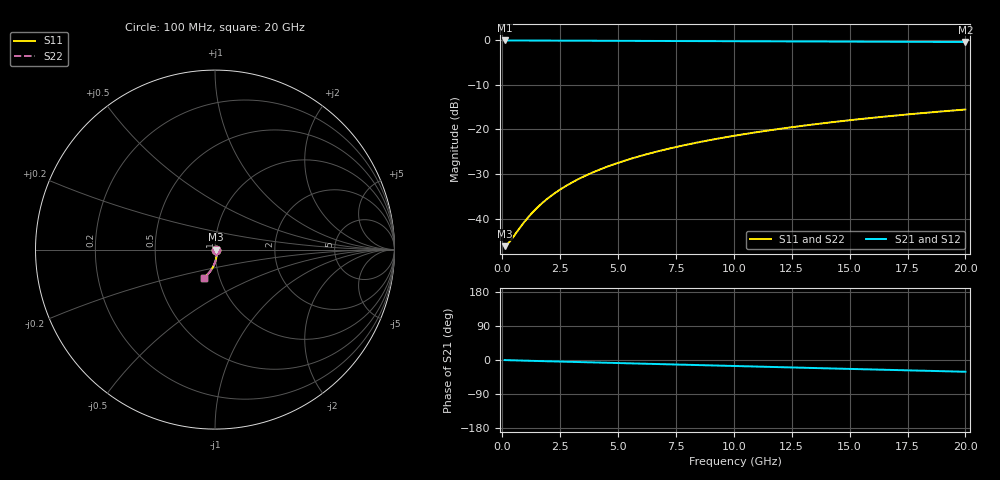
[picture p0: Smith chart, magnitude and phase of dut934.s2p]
! Touchstone file exported from HFSS 2026.1.0
!  File:  C:/ffzhzh/LocalFiles/Ansys_Project_Files/temp_train_TMRDL_934_1783158404_43440.aedt
!  Generated:  05:47:52 PM Jul  4, 2026
!  Design:  TMRDL
!  Project:  temp_train_TMRDL_934_1783158404_43440
! Variables:
!  h_bsmrdl = 2um
!  h_ox = 20um
!  h_rdl = 5um
!  h_sub = 80um
!  h_tmrdl = 2.23um
!  h_tsv = 80um
!  h_via = 3um
!  l_bsmrdl = 300um
!  l_sub = 902.64um
!  l_tmrdl = 502.64um
!  m_sub = 200um
!  pitch = 18.34um
!  r_tsv = 6um
!  s_tmrdl = 10um
!  w_bsmrdl = 18um
!  w_sub = 500um
!  w_tmrdl = 17.26um
!  x_tsv_center1 = 511.27um
!  x_tsv_center2 = 829.27um
!  x_tsv_center3 = 1349.17um
!  x_tsv_center4 = 1667.17um
!  x_tsv_center5 = 2187.07um
!  x_tsv_center6 = 2505.07um
# GHz S MA R 50.000000
! Terminal data exported
! Port[1] = TM_RDL1_1_T1
! Port[2] = TM_RDL1_1_T2
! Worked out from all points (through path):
!   200 points, 100 MHz to 20 GHz, reference 50 ohm
!   highest |S21| = -0.04 dB at 100 MHz (marker M1); lowest = -0.4 dB at 20 GHz (marker M2)
!   group delay of S21, straight-line fit = 4.29 ps
!   lowest |S11| = -46.2 dB at 100 MHz (marker M3), VSWR 1.01, Z = 50.5 - j0.0146 ohm
!   |S11| at or under -10 dB: start of sweep to end of sweep
!   |S22| runs from -46.2 to -15.5 dB; largest |S21 - S12| = 7.1e-15
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0.1  0.004906 -1.7  0.9951 -0.2  0.9951 -0.2  0.004906 -1.7
! Gamma 0 0 0 0
! Port Impedance 50 0 50 0
0.2  0.00511 -3.7  0.9949 -0.4  0.9949 -0.4  0.00511 -3.7
0.3  0.005432 -6.2  0.9946 -0.6  0.9946 -0.6  0.005432 -6.2
0.4  0.005852 -9.3  0.9942 -0.8  0.9942 -0.8  0.005852 -9.3
0.8  0.008147 -23.7  0.9925 -1.5  0.9925 -1.5  0.008145 -23.7
1.1  0.01022 -33.8  0.9913 -2.0  0.9913 -2.0  0.01021 -33.8
1.4  0.01243 -42.1  0.9904 -2.4  0.9904 -2.4  0.01243 -42.1
1.7  0.01475 -48.8  0.9897 -2.9  0.9897 -2.9  0.01474 -48.8
2.1  0.01793 -55.7  0.9889 -3.5  0.9889 -3.5  0.01792 -55.7
2.5  0.02118 -61.0  0.9883 -4.2  0.9883 -4.2  0.02118 -61.0
3  0.02532 -66.2  0.9876 -4.9  0.9876 -4.9  0.02532 -66.2
3.5  0.0295 -70.3  0.9869 -5.7  0.9869 -5.7  0.0295 -70.3
4.2  0.03541 -74.8  0.9861 -6.8  0.9861 -6.8  0.0354 -74.8
5  0.04219 -78.8  0.9852 -8.1  0.9852 -8.1  0.04218 -78.8
5.9  0.04984 -82.4  0.9841 -9.5  0.9841 -9.5  0.04984 -82.4
6.8  0.05751 -85.4  0.9829 -10.9  0.9829 -10.9  0.0575 -85.4
8.3  0.07028 -89.5  0.9808 -13.2  0.9808 -13.2  0.07028 -89.5
10.1  0.0856 -93.7  0.9779 -16.0  0.9779 -16.0  0.08559 -93.7
11.7  0.09916 -97.0  0.9749 -18.5  0.9749 -18.5  0.09916 -97.0
13.4  0.1135 -100.2  0.9715 -21.1  0.9715 -21.1  0.1135 -100.2
16.7  0.1408 -106.0  0.9642 -26.1  0.9642 -26.1  0.1408 -106.0
20  0.1673 -111.4  0.9561 -31.0  0.9561 -31.0  0.1673 -111.5
